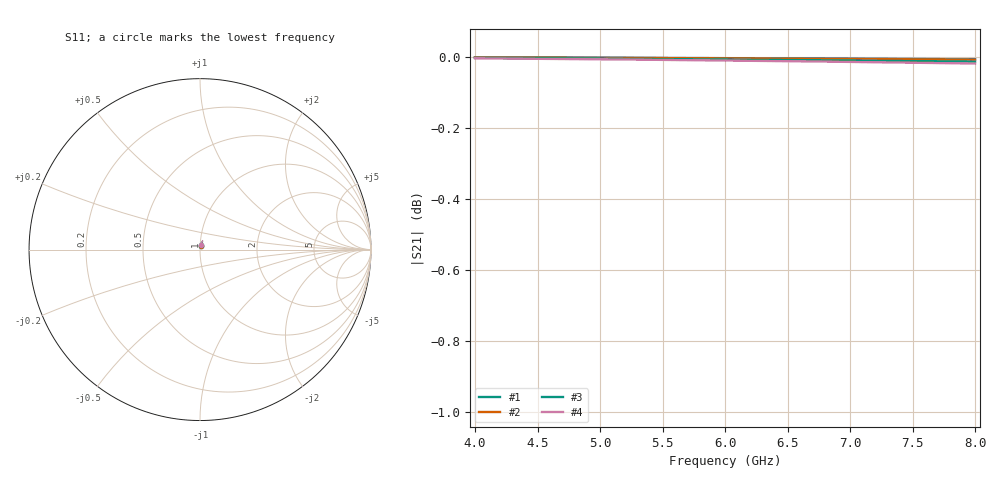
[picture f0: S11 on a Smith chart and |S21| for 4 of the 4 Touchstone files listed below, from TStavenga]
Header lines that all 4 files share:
! Sonnet Data File
! From: em Version : 15.52
! From Project: CPW_gap_coupler_3port_1um_FL_TS_6um
! Data is De-embedded
! Data File Written: 08/14/2018 17:24:40
!< HDATE 08/14/2018 17:19:51
!< MDATE 08/14/2018 17:19:51
!< PARAMS
!< END PARAMS
# GHZ S MA R 50.00000
Fixed: gap = 2.0, cpwS = 5.0, cpwS1 = 5.0, feedW = 12.0, feedS1 = 5.0, hangerW = 12.0000175, open_gap = 22.0
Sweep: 4 GHz to 8 GHz
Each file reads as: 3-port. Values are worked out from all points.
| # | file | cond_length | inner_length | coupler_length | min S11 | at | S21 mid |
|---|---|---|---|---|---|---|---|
| 1 | CPW_gap_coupler_3port_1um_FL_TS_6um_TS_6um_param1.s3p | 44.0 | 26.0 | 50.0 | -33.4 dB | 4 GHz | 0.0 dB at 6 GHz |
| 2 | CPW_gap_coupler_3port_1um_FL_TS_6um_TS_6um_param2.s3p | 144.0 | 126.0 | 150.0 | -33.0 dB | 4 GHz | 0.0 dB at 6 GHz |
| 3 | CPW_gap_coupler_3port_1um_FL_TS_6um_TS_6um_param5.s3p | 444.0 | 426.0 | 450.0 | -32.0 dB | 4 GHz | 0.0 dB at 6 GHz |
| 4 | CPW_gap_coupler_3port_1um_FL_TS_6um_TS_6um_param7.s3p | 644.0 | 626.0 | 650.0 | -31.6 dB | 4 GHz | 0.0 dB at 6 GHz |
